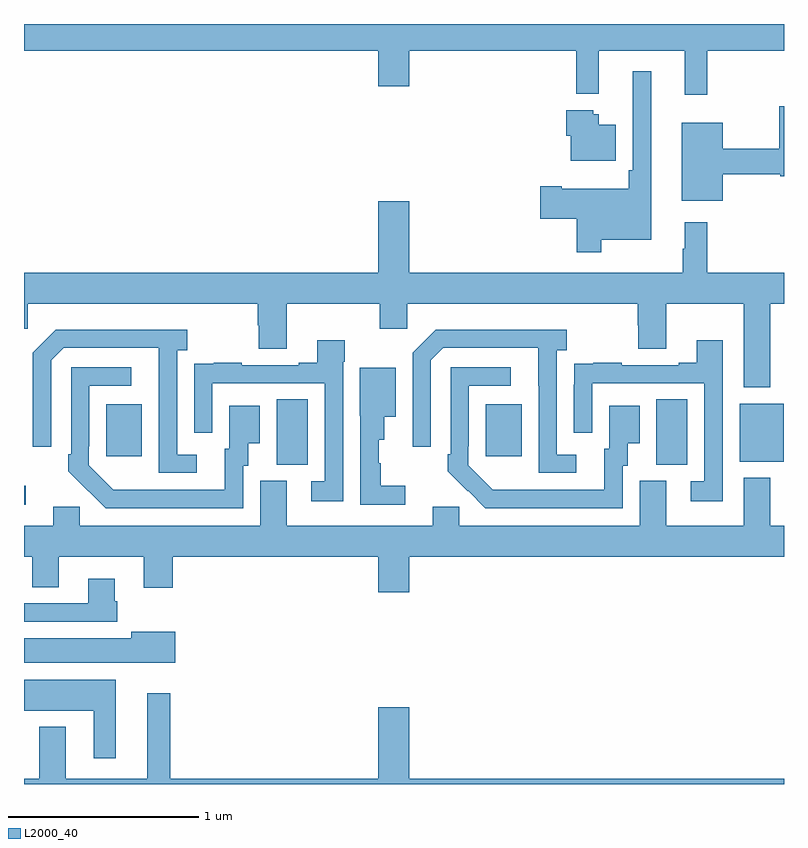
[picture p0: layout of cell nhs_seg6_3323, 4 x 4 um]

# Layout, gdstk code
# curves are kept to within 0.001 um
import gdstk
lib = gdstk.Library(unit=1e-6, precision=1e-09)
def R(c, l, rs):  # rectangles x0, y0, x1, y1
    for r in rs: c.add(gdstk.rectangle(r[:2], r[2:], *l))
def P(c, l, *ps):  # polygons
    for p in ps: c.add(gdstk.Polygon(p, *l))
L2000_40 = (2000, 40)

nhs_seg6_3323 = lib.new_cell('nhs_seg6_3323')
R(nhs_seg6_3323, L2000_40, [(307,920.97,307.009,921.071), (308.33,921.181,308.494,921.524), (310.328,921.181,310.492,921.524), (310.766,921.197,310.999,921.502), (307.433,921.225,307.621,921.499), (309.431,921.225,309.619,921.499)])
P(nhs_seg6_3323, L2000_40, [(310.595,923.36),(311,923.36),(311,923.5),(307,923.5),(307,923.36),(308.864,923.36),(308.864,923.172),(309.028,923.172),(309.028,923.36),(309.907,923.36),(309.907,923.132),(310.025,923.132),(310.025,923.36),(310.478,923.36),(310.478,923.127),(310.595,923.127)],
  [(310.039,922.364),(310.3,922.364),(310.3,923.251),(310.203,923.251),(310.203,922.729),(310.183,922.729),(310.183,922.633),(309.829,922.633),(309.829,922.646),(309.717,922.646),(309.717,922.475),(309.91,922.475),(309.91,922.299),(310.039,922.299)],
  [(310.678,922.708),(310.98,922.708),(310.98,922.7),(311,922.7),(311,923.068),(310.976,923.068),(310.976,922.844),(310.678,922.844),(310.678,922.981),(310.463,922.981),(310.463,922.571),(310.678,922.571)],
  [(310.114,922.969),(310.024,922.969),(310.024,923.025),(309.996,923.025),(309.996,923.047),(309.854,923.047),(309.854,922.911),(309.878,922.911),(309.878,922.781),(310.114,922.781)],
  [(310.927,922.028),(311,922.028),(311,922.192),(310.595,922.192),(310.595,922.456),(310.478,922.456),(310.478,922.316),(310.467,922.316),(310.467,922.192),(309.028,922.192),(309.028,922.567),(308.864,922.567),(308.864,922.192),(307,922.192),(307,921.897),(307.02,921.897),(307.02,922.028),(308.231,922.028),(308.231,921.915),(308.236,921.915),(308.236,921.79),(308.383,921.79),(308.383,922.028),(308.872,922.028),(308.872,921.897),(309.018,921.897),(309.018,922.028),(310.229,922.028),(310.229,921.915),(310.234,921.915),(310.234,921.79),(310.381,921.79),(310.381,922.028),(310.787,922.028),(310.787,921.587),(310.927,921.587)],
  [(309.907,921.234),(309.804,921.234),(309.804,921.782),(309.856,921.782),(309.856,921.892),(309.166,921.892),(309.045,921.771),(309.045,921.276),(309.141,921.276),(309.141,921.729),(309.207,921.795),(309.707,921.795),(309.708,921.138),(309.907,921.138)],
  [(307.909,921.234),(307.806,921.234),(307.806,921.782),(307.858,921.782),(307.858,921.892),(307.168,921.892),(307.047,921.771),(307.047,921.276),(307.143,921.276),(307.143,921.729),(307.209,921.795),(307.709,921.795),(307.71,921.138),(307.909,921.138)],
  [(308.679,921.722),(308.688,921.722),(308.688,921.835),(308.543,921.835),(308.543,921.718),(308.447,921.718),(308.447,921.705),(308.147,921.705),(308.147,921.718),(307.999,921.718),(307.999,921.711),(307.897,921.711),(307.897,921.602),(307.896,921.602),(307.896,921.348),(307.992,921.348),(307.992,921.609),(308.583,921.609),(308.583,921.093),(308.511,921.093),(308.511,920.988),(308.679,920.988)],
  [(310.677,921.835),(310.541,921.835),(310.541,921.718),(310.445,921.718),(310.445,921.705),(310.145,921.705),(310.145,921.718),(309.997,921.718),(309.997,921.711),(309.895,921.711),(309.895,921.602),(309.894,921.602),(309.894,921.348),(309.99,921.348),(309.99,921.609),(310.581,921.609),(310.581,921.093),(310.509,921.093),(310.509,920.988),(310.677,920.988)],
  [(308.154,921.174),(308.179,921.174),(308.179,921.293),(308.242,921.293),(308.242,921.49),(308.081,921.49),(308.081,921.264),(308.057,921.264),(308.057,921.048),(307.47,921.049),(307.341,921.177),(307.341,921.277),(307.344,921.277),(307.344,921.597),(307.564,921.597),(307.564,921.693),(307.248,921.693),(307.248,921.235),(307.233,921.235),(307.233,921.147),(307.43,920.952),(308.154,920.952)],
  [(310.152,921.174),(310.177,921.174),(310.177,921.293),(310.24,921.293),(310.24,921.49),(310.079,921.49),(310.079,921.264),(310.055,921.264),(310.055,921.048),(309.468,921.049),(309.339,921.177),(309.339,921.277),(309.342,921.277),(309.342,921.597),(309.562,921.597),(309.562,921.693),(309.246,921.693),(309.246,921.235),(309.231,921.235),(309.231,921.147),(309.428,920.952),(310.152,920.952)],
  [(309.007,921.069),(308.878,921.069),(308.878,921.189),(308.867,921.189),(308.867,921.311),(308.896,921.311),(308.896,921.434),(308.956,921.434),(308.956,921.691),(308.768,921.691),(308.768,921.438),(308.769,921.438),(308.769,920.97),(309.007,920.97)],
  [(307,920.696),(307.043,920.696),(307.043,920.536),(307.183,920.536),(307.183,920.696),(307.631,920.696),(307.631,920.532),(307.784,920.532),(307.784,920.696),(308.864,920.696),(308.864,920.508),(309.028,920.508),(309.028,920.696),(311,920.696),(311,920.86),(310.927,920.86),(310.927,921.112),(310.787,921.112),(310.787,920.86),(310.381,920.86),(310.381,921.096),(310.241,921.096),(310.241,920.86),(309.291,920.86),(309.291,920.958),(309.152,920.958),(309.152,920.86),(308.383,920.86),(308.383,921.096),(308.243,921.096),(308.243,920.86),(307.293,920.86),(307.293,920.958),(307.154,920.958),(307.154,920.86),(307,920.86)],
  [(307.49,920.463),(307.477,920.463),(307.477,920.581),(307.337,920.581),(307.337,920.451),(307,920.451),(307,920.355),(307.49,920.355)],
  [(307.795,920.302),(307.565,920.302),(307.565,920.266),(307,920.266),(307,920.138),(307.795,920.138)],
  [(307.483,920.05),(307,920.05),(307,919.886),(307.367,919.886),(307.367,919.635),(307.483,919.635)],
  [(311,919.528),(309.028,919.528),(309.028,919.903),(308.864,919.903),(308.864,919.528),(307.771,919.528),(307.771,919.978),(307.649,919.978),(307.649,919.528),(307.219,919.528),(307.219,919.801),(307.079,919.801),(307.079,919.528),(307,919.528),(307,919.5),(311,919.5)])

lib.write_gds('nhs_seg6_3323.gds')
